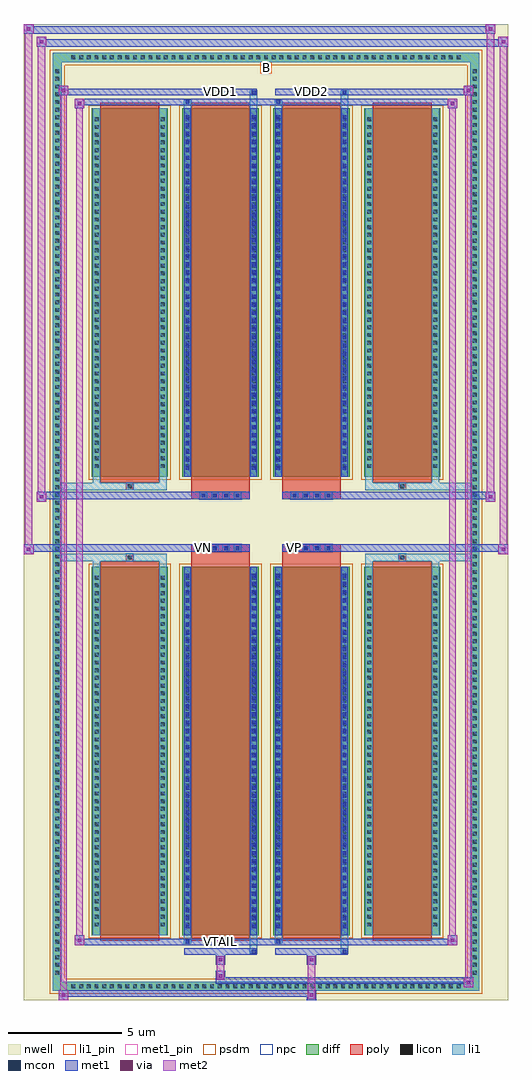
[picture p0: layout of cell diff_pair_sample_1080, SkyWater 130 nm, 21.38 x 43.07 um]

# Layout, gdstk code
import gdstk
lib = gdstk.Library(unit=1e-6, precision=5e-09)
def R(c, l, rs):  # rectangles x0, y0, x1, y1
    for r in rs: c.add(gdstk.rectangle(r[:2], r[2:], *l))
def A(c, l, x, y, w, h, nx, ny, dx, dy):  # array of equal rectangles
    R(c, l, [(x+i*dx, y+j*dy, x+i*dx+w, y+j*dy+h) for i in range(nx) for j in range(ny)])
def P(c, l, *ps):  # polygons
    for p in ps: c.add(gdstk.Polygon(p, *l))
nwell = (64, 20)
diff = (65, 20)
poly = (66, 20)
licon = (66, 44)
li1_pin = (67, 16)
li1 = (67, 20)
mcon = (67, 44)
met1_pin = (68, 16)
met1 = (68, 20)
via = (68, 44)
met2 = (69, 20)
psdm = (94, 20)
npc = (95, 20)

diff_pair_sample_1080 = lib.new_cell('diff_pair_sample_1080')
R(diff_pair_sample_1080, nwell, [(-10.69,-21.1,10.69,21.97), (-8.01,-19.29,-0.01,-0.795), (0.01,-19.29,8.01,-0.795), (-8.01,0.795,-0.01,19.29), (0.01,0.795,8.01,19.29)])
A(diff_pair_sample_1080, diff, -8.705, -20.7, 0.41, 0.41, 51, 2, 0.34, 40.99)
A(diff_pair_sample_1080, diff, -9.42, -20.095, 0.41, 0.41, 1, 118, 0, 0.34)
A(diff_pair_sample_1080, diff, 9.01, -20.095, 0.41, 0.41, 1, 118, 0, 0.34)
A(diff_pair_sample_1080, diff, -7.7, -18.245, 3.37, 16.26, 4, 2, 4.01, 20.23)
R(diff_pair_sample_1080, diff, [(-8.705,-20.7,8.705,-20.29), (-9.42,-20.095,-9.01,20.095), (9.01,-20.095,9.42,20.095), (-8.705,20.29,8.705,20.7)])
P(diff_pair_sample_1080, diff, [(9.42,20.7),(-9.42,20.7),(-9.42,-20.29),(-9.01,-20.29),(-9.01,20.29),(9.01,20.29),(9.01,-20.29),(-9.01,-20.29),(-9.42,-20.29),(-9.42,-20.7),(9.42,-20.7)])
A(diff_pair_sample_1080, poly, -7.31, -18.495, 2.59, 16.76, 4, 2, 4.01, 20.23)
A(diff_pair_sample_1080, poly, -2.92, -1.325, 0.33, 0.33, 4, 2, 0.5, 2.32)
A(diff_pair_sample_1080, poly, 1.09, -1.325, 0.33, 0.33, 4, 2, 0.5, 2.32)
R(diff_pair_sample_1080, poly, [(-6.18,-1.735,-5.85,-1.405), (-6.18,-1.735,-5.85,-1.405), (-3.3,-1.735,-0.71,-1.325), (0.71,-1.735,3.3,-1.325), (5.85,-1.735,6.18,-1.405), (5.85,-1.735,6.18,-1.405), (-3.3,-1.325,-0.71,-0.995), (0.71,-1.325,3.3,-0.995), (-3.3,0.995,-0.71,1.325), (0.71,0.995,3.3,1.325), (-3.3,1.325,-0.71,1.735), (0.71,1.325,3.3,1.735), (-6.18,1.405,-5.85,1.735), (-6.18,1.405,-5.85,1.735), (5.85,1.405,6.18,1.735), (5.85,1.405,6.18,1.735)])
A(diff_pair_sample_1080, licon, -8.585, -20.58, 0.17, 0.17, 51, 2, 0.34, 40.99)
A(diff_pair_sample_1080, licon, -9.3, -19.975, 0.17, 0.17, 1, 118, 0, 0.34)
A(diff_pair_sample_1080, licon, 9.13, -19.975, 0.17, 0.17, 1, 118, 0, 0.34)
A(diff_pair_sample_1080, licon, -7.56, -17.85, 0.17, 0.17, 1, 46, 0, 0.34)
A(diff_pair_sample_1080, licon, -4.64, -17.85, 0.17, 0.17, 1, 46, 0, 0.34)
A(diff_pair_sample_1080, licon, -3.55, -17.85, 0.17, 0.17, 1, 46, 0, 0.34)
A(diff_pair_sample_1080, licon, -0.63, -17.85, 0.17, 0.17, 1, 46, 0, 0.34)
A(diff_pair_sample_1080, licon, 0.46, -17.85, 0.17, 0.17, 1, 46, 0, 0.34)
A(diff_pair_sample_1080, licon, 3.38, -17.85, 0.17, 0.17, 1, 46, 0, 0.34)
A(diff_pair_sample_1080, licon, 4.47, -17.85, 0.17, 0.17, 1, 46, 0, 0.34)
A(diff_pair_sample_1080, licon, 7.39, -17.85, 0.17, 0.17, 1, 46, 0, 0.34)
A(diff_pair_sample_1080, licon, -2.84, -1.245, 0.17, 0.17, 4, 2, 0.5, 2.32)
A(diff_pair_sample_1080, licon, 1.17, -1.245, 0.17, 0.17, 4, 2, 0.5, 2.32)
A(diff_pair_sample_1080, licon, -7.56, 2.38, 0.17, 0.17, 1, 46, 0, 0.34)
A(diff_pair_sample_1080, licon, -4.64, 2.38, 0.17, 0.17, 1, 46, 0, 0.34)
A(diff_pair_sample_1080, licon, -3.55, 2.38, 0.17, 0.17, 1, 46, 0, 0.34)
A(diff_pair_sample_1080, licon, -0.63, 2.38, 0.17, 0.17, 1, 46, 0, 0.34)
A(diff_pair_sample_1080, licon, 0.46, 2.38, 0.17, 0.17, 1, 46, 0, 0.34)
A(diff_pair_sample_1080, licon, 3.38, 2.38, 0.17, 0.17, 1, 46, 0, 0.34)
A(diff_pair_sample_1080, licon, 4.47, 2.38, 0.17, 0.17, 1, 46, 0, 0.34)
A(diff_pair_sample_1080, licon, 7.39, 2.38, 0.17, 0.17, 1, 46, 0, 0.34)
R(diff_pair_sample_1080, licon, [(-6.1,-1.655,-5.93,-1.485), (5.93,-1.655,6.1,-1.485), (-6.1,1.485,-5.93,1.655), (5.93,1.485,6.1,1.655)])
R(diff_pair_sample_1080, li1_pin, [(-0.25,19.79,0.25,20.29)])
A(diff_pair_sample_1080, li1, -8.665, -20.66, 0.33, 0.33, 51, 2, 0.34, 40.99)
A(diff_pair_sample_1080, li1, -9.38, -20.055, 0.33, 0.33, 1, 118, 0, 0.34)
A(diff_pair_sample_1080, li1, 9.05, -20.055, 0.33, 0.33, 1, 118, 0, 0.34)
A(diff_pair_sample_1080, li1, -3.55, -17.94, 0.17, 0.17, 1, 44, 0, 0.36)
A(diff_pair_sample_1080, li1, -0.63, -17.94, 0.17, 0.17, 1, 44, 0, 0.36)
A(diff_pair_sample_1080, li1, 0.46, -17.94, 0.17, 0.17, 1, 44, 0, 0.36)
A(diff_pair_sample_1080, li1, 3.38, -17.94, 0.17, 0.17, 1, 44, 0, 0.36)
A(diff_pair_sample_1080, li1, -7.64, -17.93, 0.33, 0.33, 1, 46, 0, 0.34)
A(diff_pair_sample_1080, li1, -4.72, -17.93, 0.33, 0.33, 1, 46, 0, 0.34)
A(diff_pair_sample_1080, li1, -3.63, -17.93, 0.33, 0.33, 1, 46, 0, 0.34)
A(diff_pair_sample_1080, li1, -0.71, -17.93, 0.33, 0.33, 1, 46, 0, 0.34)
A(diff_pair_sample_1080, li1, 0.38, -17.93, 0.33, 0.33, 1, 46, 0, 0.34)
A(diff_pair_sample_1080, li1, 3.3, -17.93, 0.33, 0.33, 1, 46, 0, 0.34)
A(diff_pair_sample_1080, li1, 4.39, -17.93, 0.33, 0.33, 1, 46, 0, 0.34)
A(diff_pair_sample_1080, li1, 7.31, -17.93, 0.33, 0.33, 1, 46, 0, 0.34)
A(diff_pair_sample_1080, li1, -2.92, -1.325, 0.33, 0.33, 4, 2, 0.5, 2.32)
A(diff_pair_sample_1080, li1, 1.09, -1.325, 0.33, 0.33, 4, 2, 0.5, 2.32)
A(diff_pair_sample_1080, li1, -3.55, 2.29, 0.17, 0.17, 1, 44, 0, 0.36)
A(diff_pair_sample_1080, li1, -0.63, 2.29, 0.17, 0.17, 1, 44, 0, 0.36)
A(diff_pair_sample_1080, li1, 0.46, 2.29, 0.17, 0.17, 1, 44, 0, 0.36)
A(diff_pair_sample_1080, li1, 3.38, 2.29, 0.17, 0.17, 1, 44, 0, 0.36)
A(diff_pair_sample_1080, li1, -7.64, 2.3, 0.33, 0.33, 1, 46, 0, 0.34)
A(diff_pair_sample_1080, li1, -4.72, 2.3, 0.33, 0.33, 1, 46, 0, 0.34)
A(diff_pair_sample_1080, li1, -3.63, 2.3, 0.33, 0.33, 1, 46, 0, 0.34)
A(diff_pair_sample_1080, li1, -0.71, 2.3, 0.33, 0.33, 1, 46, 0, 0.34)
A(diff_pair_sample_1080, li1, 0.38, 2.3, 0.33, 0.33, 1, 46, 0, 0.34)
A(diff_pair_sample_1080, li1, 3.3, 2.3, 0.33, 0.33, 1, 46, 0, 0.34)
A(diff_pair_sample_1080, li1, 4.39, 2.3, 0.33, 0.33, 1, 46, 0, 0.34)
A(diff_pair_sample_1080, li1, 7.31, 2.3, 0.33, 0.33, 1, 46, 0, 0.34)
R(diff_pair_sample_1080, li1, [(-9.42,-20.7,-9.01,-20.29), (-9.42,-20.7,-9.01,-20.29), (-9.01,-20.7,9.01,-20.29), (9.01,-20.7,9.42,-20.29), (9.01,-20.7,9.42,-20.29), (-9.42,-20.29,-9.01,20.29), (9.01,-20.29,9.42,20.29), (-0.71,-19.05,-0.38,-18.245), (-0.63,-19.05,-0.46,-18.88), (3.3,-19.05,3.63,-18.245), (3.38,-19.05,3.55,-18.88), (-3.63,-18.62,-3.3,-18.245), (-3.55,-18.62,-3.38,-18.45), (0.38,-18.62,0.71,-18.245), (0.46,-18.62,0.63,-18.45), (-7.64,-18.245,-7.31,-1.985), (-4.72,-18.245,-4.39,-1.985), (-3.63,-18.245,-3.3,-1.985), (-0.71,-18.245,-0.38,-1.985), (0.38,-18.245,0.71,-1.985), (3.3,-18.245,3.63,-1.985), (4.39,-18.245,4.72,-1.985), (7.31,-18.245,7.64,-1.985), (-3.55,-17.94,-3.38,-2.29), (-0.63,-17.94,-0.46,-2.29), (0.46,-17.94,0.63,-2.29), (3.38,-17.94,3.55,-2.29), (-7.64,-1.985,-7.31,-1.405), (-4.72,-1.985,-4.39,-1.405), (4.39,-1.985,4.72,-1.405), (7.31,-1.985,7.64,-1.405), (-9.42,-1.735,-6.18,-1.405), (-7.64,-1.735,-6.18,-1.405), (-6.18,-1.735,-5.85,-1.405), (-5.85,-1.735,-4.39,-1.405), (4.39,-1.735,5.85,-1.405), (5.85,-1.735,6.18,-1.405), (5.85,-1.735,9.42,-1.405), (6.18,-1.735,7.64,-1.405), (-9.42,1.405,-6.18,1.735), (-7.64,1.405,-6.18,1.735), (-7.64,1.405,-7.31,1.985), (-6.18,1.405,-5.85,1.735), (-5.85,1.405,-4.39,1.735), (-4.72,1.405,-4.39,1.985), (4.39,1.405,5.85,1.735), (4.39,1.405,4.72,1.985), (5.85,1.405,6.18,1.735), (5.85,1.405,9.42,1.735), (6.18,1.405,7.64,1.735), (7.31,1.405,7.64,1.985), (-7.64,1.985,-7.31,18.245), (-4.72,1.985,-4.39,18.245), (-3.63,1.985,-3.3,18.245), (-0.71,1.985,-0.38,18.245), (0.38,1.985,0.71,18.245), (3.3,1.985,3.63,18.245), (4.39,1.985,4.72,18.245), (7.31,1.985,7.64,18.245), (-3.55,2.29,-3.38,17.94), (-0.63,2.29,-0.46,17.94), (0.46,2.29,0.63,17.94), (3.38,2.29,3.55,17.94), (-3.63,18.245,-3.3,18.62), (-0.71,18.245,-0.38,19.05), (0.38,18.245,0.71,18.62), (3.3,18.245,3.63,19.05), (-3.55,18.45,-3.38,18.62), (0.46,18.45,0.63,18.62), (-0.63,18.88,-0.46,19.05), (3.38,18.88,3.55,19.05), (-9.42,20.29,-9.01,20.7), (-9.42,20.29,-9.01,20.7), (-9.01,20.29,9.01,20.7), (9.01,20.29,9.42,20.7), (9.01,20.29,9.42,20.7)])
A(diff_pair_sample_1080, mcon, -3.55, -17.94, 0.17, 0.17, 1, 44, 0, 0.36)
A(diff_pair_sample_1080, mcon, -0.63, -17.94, 0.17, 0.17, 1, 44, 0, 0.36)
A(diff_pair_sample_1080, mcon, 0.46, -17.94, 0.17, 0.17, 1, 44, 0, 0.36)
A(diff_pair_sample_1080, mcon, 3.38, -17.94, 0.17, 0.17, 1, 44, 0, 0.36)
A(diff_pair_sample_1080, mcon, -2.84, -1.245, 0.17, 0.17, 4, 2, 0.5, 2.32)
A(diff_pair_sample_1080, mcon, 1.17, -1.245, 0.17, 0.17, 4, 2, 0.5, 2.32)
A(diff_pair_sample_1080, mcon, -3.55, 2.29, 0.17, 0.17, 1, 44, 0, 0.36)
A(diff_pair_sample_1080, mcon, -0.63, 2.29, 0.17, 0.17, 1, 44, 0, 0.36)
A(diff_pair_sample_1080, mcon, 0.46, 2.29, 0.17, 0.17, 1, 44, 0, 0.36)
A(diff_pair_sample_1080, mcon, 3.38, 2.29, 0.17, 0.17, 1, 44, 0, 0.36)
R(diff_pair_sample_1080, mcon, [(-0.63,-19.05,-0.46,-18.88), (3.38,-19.05,3.55,-18.88), (-3.55,-18.62,-3.38,-18.45), (0.46,-18.62,0.63,-18.45), (-3.55,18.45,-3.38,18.62), (0.46,18.45,0.63,18.62), (-0.63,18.88,-0.46,19.05), (3.38,18.88,3.55,19.05)])
R(diff_pair_sample_1080, met1_pin, [(-2.14,-18.66,-1.87,-18.39), (-2.89,-1.285,-2.62,-1.015), (1.12,-1.285,1.39,-1.015), (-2.14,18.84,-1.87,19.11), (1.87,18.84,2.14,19.11)])
A(diff_pair_sample_1080, met1, -3.61, -18, 0.29, 0.29, 1, 44, 0, 0.36)
A(diff_pair_sample_1080, met1, -0.69, -18, 0.29, 0.29, 1, 44, 0, 0.36)
A(diff_pair_sample_1080, met1, 0.4, -18, 0.29, 0.29, 1, 44, 0, 0.36)
A(diff_pair_sample_1080, met1, 3.32, -18, 0.29, 0.29, 1, 44, 0, 0.36)
A(diff_pair_sample_1080, met1, -2.9, -1.305, 0.29, 0.29, 4, 2, 0.5, 2.32)
A(diff_pair_sample_1080, met1, 1.11, -1.305, 0.29, 0.29, 4, 2, 0.5, 2.32)
A(diff_pair_sample_1080, met1, -3.61, 2.23, 0.29, 0.29, 1, 44, 0, 0.36)
A(diff_pair_sample_1080, met1, -0.69, 2.23, 0.29, 0.29, 1, 44, 0, 0.36)
A(diff_pair_sample_1080, met1, 0.4, 2.23, 0.29, 0.29, 1, 44, 0, 0.36)
A(diff_pair_sample_1080, met1, 3.32, 2.23, 0.29, 0.29, 1, 44, 0, 0.36)
R(diff_pair_sample_1080, met1, [(-9.15,-21.1,-8.72,-20.67), (1.79,-21.1,2.22,-20.67), (-9.15,-20.96,2.22,-20.67), (8.72,-20.53,9.15,-20.1), (-2.22,-20.39,9.15,-20.1), (-2.22,-20.25,-1.79,-19.82), (-2.22,-19.54,-1.79,-19.11), (1.79,-19.54,2.22,-19.11), (-3.61,-19.11,-0.4,-18.82), (-0.69,-19.11,-0.4,-18.82), (0.4,-19.11,3.61,-18.82), (3.32,-19.11,3.61,-18.82), (-8.44,-18.68,-8.01,-18.25), (-8.44,-18.68,-3.61,-18.39), (-3.61,-18.68,-3.32,-18.39), (-3.61,-18.68,-0.4,-18.39), (-0.4,-18.68,0.4,-18.39), (0.4,-18.68,0.69,-18.39), (0.4,-18.68,3.61,-18.39), (3.61,-18.68,8.44,-18.39), (8.01,-18.68,8.44,-18.25), (-3.61,-18.245,-3.32,-1.985), (-0.69,-18.245,-0.4,-1.985), (0.4,-18.245,0.69,-1.985), (3.32,-18.245,3.61,-1.985), (-10.69,-1.425,-10.26,-0.995), (10.26,-1.425,10.69,-0.995), (-10.69,-1.325,-0.71,-0.995), (-3.3,-1.325,-0.71,-0.995), (0.71,-1.325,3.3,-0.995), (0.71,-1.325,10.69,-0.995), (-10.12,0.895,-9.69,1.325), (9.69,0.895,10.12,1.325), (-10.12,0.995,-3.3,1.325), (-3.3,0.995,-0.71,1.325), (0.71,0.995,3.3,1.325), (3.3,0.995,10.12,1.325), (-3.61,1.985,-3.32,18.245), (-0.69,1.985,-0.4,18.245), (0.4,1.985,0.69,18.245), (3.32,1.985,3.61,18.245), (-8.44,18.25,-8.01,18.68), (8.01,18.25,8.44,18.68), (-8.44,18.39,-3.61,18.68), (-3.61,18.39,-3.32,18.68), (-3.61,18.39,-0.4,18.68), (-0.4,18.39,0.4,18.68), (0.4,18.39,0.69,18.68), (0.4,18.39,3.61,18.68), (3.61,18.39,8.44,18.68), (-9.15,18.82,-8.72,19.25), (-9.15,18.82,-3.61,19.11), (-3.61,18.82,-0.4,19.11), (-0.69,18.82,-0.4,19.11), (0.4,18.82,3.61,19.11), (3.32,18.82,3.61,19.11), (3.61,18.82,9.15,19.11), (8.72,18.82,9.15,19.25), (-10.12,20.97,-9.69,21.4), (-10.12,20.97,-8.01,21.3), (-8.01,20.97,8.01,21.3), (8.01,20.97,10.69,21.3), (10.26,20.97,10.69,21.4), (-10.69,21.54,-10.26,21.97), (-10.69,21.54,-8.01,21.87), (-8.01,21.54,8.01,21.87), (8.01,21.54,10.12,21.87), (9.69,21.54,10.12,21.97)])
R(diff_pair_sample_1080, via, [(-9.01,-20.96,-8.86,-20.81), (1.93,-20.96,2.08,-20.81), (8.86,-20.39,9.01,-20.24), (-2.08,-20.11,-1.93,-19.96), (-2.08,-19.4,-1.93,-19.25), (1.93,-19.4,2.08,-19.25), (-8.3,-18.54,-8.15,-18.39), (8.15,-18.54,8.3,-18.39), (-10.55,-1.285,-10.4,-1.135), (10.4,-1.285,10.55,-1.135), (-9.98,1.035,-9.83,1.185), (9.83,1.035,9.98,1.185), (-8.3,18.39,-8.15,18.54), (8.15,18.39,8.3,18.54), (-9.01,18.96,-8.86,19.11), (8.86,18.96,9.01,19.11), (-9.98,21.11,-9.83,21.26), (10.4,21.11,10.55,21.26), (-10.55,21.68,-10.4,21.83), (9.83,21.68,9.98,21.83)])
R(diff_pair_sample_1080, met2, [(-9.15,-21.1,-8.72,-20.67), (-9.08,-21.1,-8.79,19.25), (-8.79,-21.1,-8.72,-20.67), (-9.1,-21.05,-8.77,-20.72), (1.84,-21.05,2.17,-20.72), (1.84,-20.72,2.17,-19.49), (8.72,-20.53,9.15,-20.1), (8.79,-20.53,9.08,19.25), (9.08,-20.53,9.15,-20.1), (8.77,-20.48,9.1,-20.15), (-2.17,-20.2,-1.84,-19.87), (-2.17,-19.87,-1.84,-19.49), (-2.17,-19.49,-1.84,-19.16), (1.84,-19.49,2.17,-19.16), (-8.44,-18.68,-8.01,-18.25), (-8.37,-18.68,-8.08,18.68), (-8.08,-18.68,-8.01,-18.25), (8.01,-18.68,8.44,-18.25), (8.08,-18.68,8.37,18.68), (8.37,-18.68,8.44,-18.25), (-8.39,-18.63,-8.06,-18.3), (8.06,-18.63,8.39,-18.3), (-10.69,-1.425,-10.26,-0.995), (-10.64,-1.425,-10.31,21.97), (-10.31,-1.425,-10.26,-0.995), (10.26,-1.425,10.69,-0.995), (10.31,-1.425,10.64,21.4), (10.64,-1.425,10.69,-0.995), (-10.64,-1.375,-10.31,-1.045), (10.31,-1.375,10.64,-1.045), (-10.12,0.895,-9.69,1.325), (-10.07,0.895,-9.74,21.4), (-9.74,0.895,-9.69,1.325), (9.69,0.895,10.12,1.325), (9.74,0.895,10.07,21.97), (10.07,0.895,10.12,1.325), (-10.07,0.945,-9.74,1.275), (9.74,0.945,10.07,1.275), (-8.44,18.25,-8.01,18.68), (-8.08,18.25,-8.01,18.68), (8.01,18.25,8.44,18.68), (8.37,18.25,8.44,18.68), (-8.39,18.3,-8.06,18.63), (8.06,18.3,8.39,18.63), (-9.15,18.82,-8.72,19.25), (-8.79,18.82,-8.72,19.25), (8.72,18.82,9.15,19.25), (9.08,18.82,9.15,19.25), (-9.1,18.87,-8.77,19.2), (8.77,18.87,9.1,19.2), (-10.12,20.97,-9.69,21.4), (-9.74,20.97,-9.69,21.4), (10.26,20.97,10.69,21.4), (10.64,20.97,10.69,21.4), (-10.07,21.02,-9.74,21.35), (10.31,21.02,10.64,21.35), (-10.69,21.54,-10.26,21.97), (-10.31,21.54,-10.26,21.97), (9.69,21.54,10.12,21.97), (10.07,21.54,10.12,21.97), (-10.64,21.59,-10.31,21.92), (9.74,21.59,10.07,21.92)])
A(diff_pair_sample_1080, psdm, -7.83, -18.375, 3.63, 16.52, 4, 2, 4.01, 20.23)
P(diff_pair_sample_1080, psdm, [(9.55,20.83),(-9.55,20.83),(-9.55,-20.16),(-8.88,-20.16),(-8.88,20.16),(8.88,20.16),(8.88,-20.16),(-8.88,-20.16),(-9.55,-20.16),(-9.55,-20.83),(9.55,-20.83)])
A(diff_pair_sample_1080, npc, -2.94, -1.345, 0.37, 0.37, 4, 2, 0.5, 2.32)
A(diff_pair_sample_1080, npc, 1.07, -1.345, 0.37, 0.37, 4, 2, 0.5, 2.32)
R(diff_pair_sample_1080, npc, [(-6.2,-1.755,-5.83,-1.385), (5.83,-1.755,6.2,-1.385), (-2.94,-1.345,-2.07,-0.975), (-2.94,-1.345,-2.07,-0.975), (-2.44,-1.345,-1.57,-0.975), (-2.44,-1.345,-1.57,-0.975), (-1.94,-1.345,-1.07,-0.975), (-1.94,-1.345,-1.07,-0.975), (1.07,-1.345,1.94,-0.975), (1.07,-1.345,1.94,-0.975), (1.57,-1.345,2.44,-0.975), (1.57,-1.345,2.44,-0.975), (2.07,-1.345,2.94,-0.975), (2.07,-1.345,2.94,-0.975), (-2.94,0.975,-2.07,1.345), (-2.94,0.975,-2.07,1.345), (-2.44,0.975,-1.57,1.345), (-2.44,0.975,-1.57,1.345), (-1.94,0.975,-1.07,1.345), (-1.94,0.975,-1.07,1.345), (1.07,0.975,1.94,1.345), (1.07,0.975,1.94,1.345), (1.57,0.975,2.44,1.345), (1.57,0.975,2.44,1.345), (2.07,0.975,2.94,1.345), (2.07,0.975,2.94,1.345), (-6.2,1.385,-5.83,1.755), (5.83,1.385,6.2,1.755)])
diff_pair_sample_1080.add(gdstk.Label('VTAIL', (-2.005,-18.525), layer=68, texttype=5))
diff_pair_sample_1080.add(gdstk.Label('VN', (-2.755,-1.15), layer=68, texttype=5))
diff_pair_sample_1080.add(gdstk.Label('VP', (1.255,-1.15), layer=68, texttype=5))
diff_pair_sample_1080.add(gdstk.Label('B', (0,20.04), layer=67, texttype=5))
diff_pair_sample_1080.add(gdstk.Label('VDD2', (2.005,18.975), layer=68, texttype=5))
diff_pair_sample_1080.add(gdstk.Label('VDD1', (-2.005,18.975), layer=68, texttype=5))

lib.write_gds('diff_pair_sample_1080.gds')
